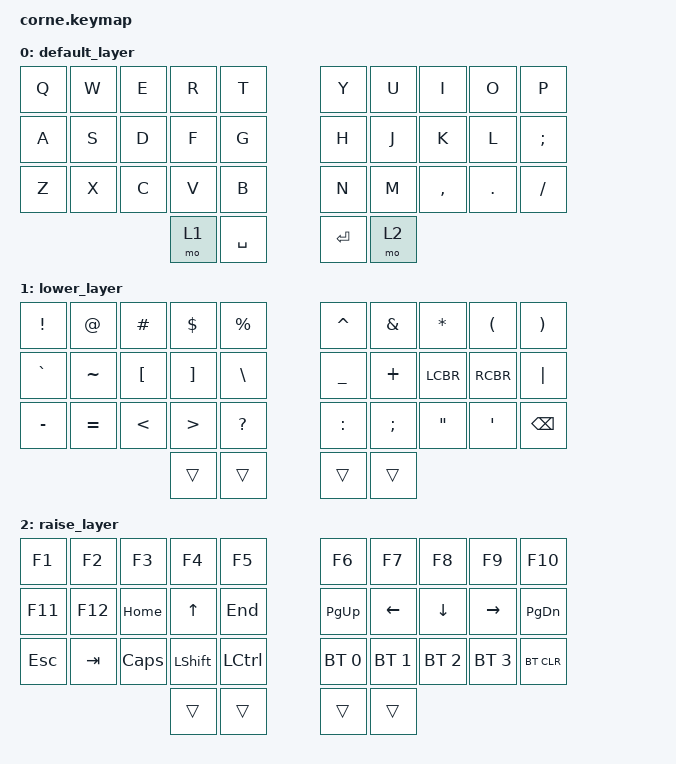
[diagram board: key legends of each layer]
#include <behaviors.dtsi>
#include <dt-bindings/zmk/keys.h>
#include <dt-bindings/zmk/bt.h>

/ {
    compatible = "zmk,keymap";

    keymap {
        compatible = "zmk,keymap";

        default_layer {
            bindings = <
                &kp Q &kp W &kp E &kp R &kp T        &kp Y &kp U &kp I &kp O &kp P
                &kp A &kp S &kp D &kp F &kp G        &kp H &kp J &kp K &kp L &kp SEMI
                &kp Z &kp X &kp C &kp V &kp B        &kp N &kp M &kp COMMA &kp DOT &kp SLASH
                          &mo 1 &kp SPACE           &kp ENTER &mo 2
            >;
        };

        lower_layer {
            bindings = <
                &kp EXCL &kp AT &kp HASH &kp DLLR &kp PRCNT     &kp CARET &kp AMPS &kp STAR &kp LPAR &kp RPAR
                &kp GRAVE &kp TILDE &kp LBKT &kp RBKT &kp BSLH   &kp UNDERSCORE &kp PLUS &kp LCBR &kp RCBR &kp PIPE
                &kp MINUS &kp EQUAL &kp LT &kp GT &kp QUESTION   &kp COLON &kp SEMI &kp DQT &kp SQT &kp BSPC
                          &trans &trans                         &trans &trans
            >;
        };

        raise_layer {
            bindings = <
                &kp F1 &kp F2 &kp F3 &kp F4 &kp F5        &kp F6 &kp F7 &kp F8 &kp F9 &kp F10
                &kp F11 &kp F12 &kp HOME &kp UP &kp END   &kp PG_UP &kp LEFT &kp DOWN &kp RIGHT &kp PG_DN

                &kp ESC &kp TAB &kp CAPS &kp LSHIFT &kp LCTRL
                &bt BT_SEL 0 &bt BT_SEL 1 &bt BT_SEL 2 &bt BT_SEL 3 &bt BT_CLR

                          &trans &trans                   &trans &trans
            >;
        };
    };
};
